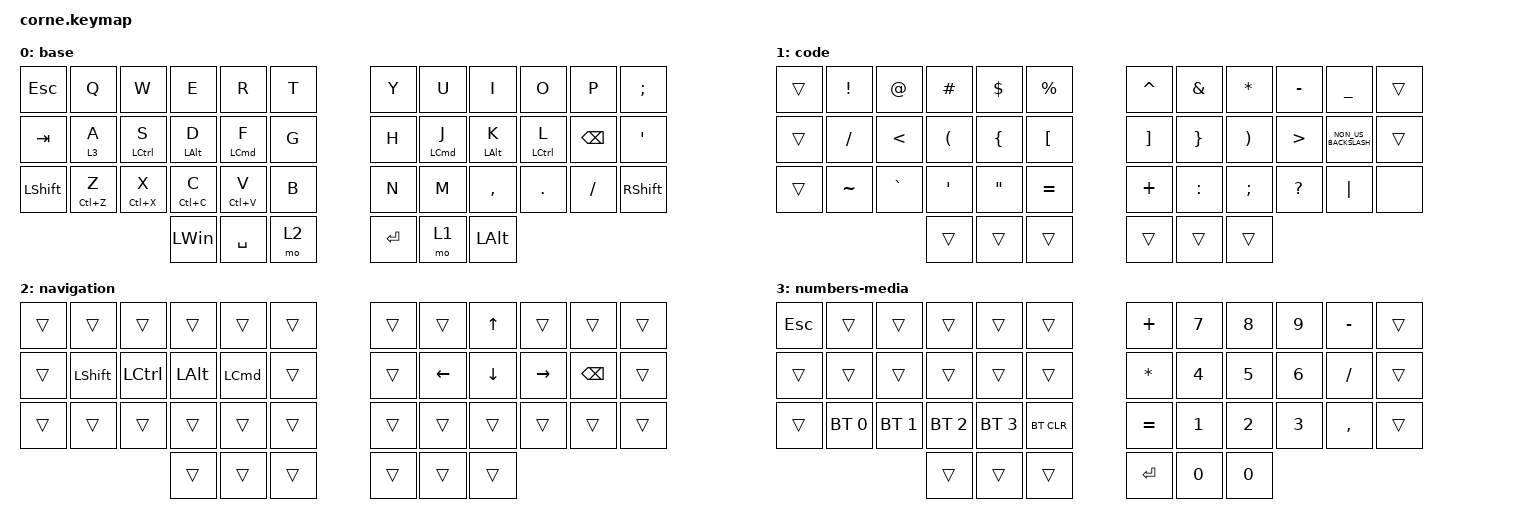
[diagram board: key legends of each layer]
/*
 * Copyright (c) 2020 The ZMK Contributors
 *
 * SPDX-License-Identifier: MIT
 */

#include <behaviors.dtsi>
#include <dt-bindings/zmk/bt.h>
#include <dt-bindings/zmk/keys.h>

/ {
    behaviors {
        homerow_mods_left: homerow_mods_left {
            compatible = "zmk,behavior-hold-tap";
            label = "HOMEROW_MODS_LEFT";
            bindings = <&kp>, <&kp>;

            #binding-cells = <2>;
            tapping-term-ms = <200>;
            quick-tap-ms = <250>;
            flavor = "tap-preferred";
            hold-trigger-key-positions = <6 7 8 9 10 11 18 19 20 21 22 23 30 31 32 33 34 35>;
        };

        homerow_mods_right: homerow_mods_right {
            compatible = "zmk,behavior-hold-tap";
            label = "HOMEROW_MODS_RIGHT";
            bindings = <&kp>, <&kp>;

            #binding-cells = <2>;
            tapping-term-ms = <200>;
            quick-tap-ms = <250>;
            flavor = "tap-preferred";
            hold-trigger-key-positions = <0 1 2 3 4 5 12 13 14 15 16 17 24 25 26 27 28 29>;
        };

        homerow_mods: homerow_mods {
            compatible = "zmk,behavior-hold-tap";
            label = "HOMEROW_MODS";
            bindings = <&kp>, <&kp>;

            #binding-cells = <2>;
            tapping-term-ms = <200>;
            quick-tap-ms = <250>;
            flavor = "tap-preferred";
        };

        Numbers_layer: Numbers_layer {
            compatible = "zmk,behavior-hold-tap";
            label = "NUMBERS_LAYER";
            bindings = <&mo>, <&kp>;

            #binding-cells = <2>;
            tapping-term-ms = <200>;
            quick-tap-ms = <250>;
            flavor = "tap-preferred";
        };
    };

    combos { compatible = "zmk,combos"; };

    keymap {
        compatible = "zmk,keymap";

        base {
            // -----------------------------------------------------------------------------------------
            // |  TAB |  Q  |  W  |  E  |  R  |  T  |   |  Y  |  U   |  I  |  O  |  P  | BKSP |
            // | CTRL |  A  |  S  |  D  |  F  |  G  |   |  H  |  J   |  K  |  L  |  ;  |  '   |
            // | SHFT |  Z  |  X  |  C  |  V  |  B  |   |  N  |  M   |  ,  |  .  |  /  | ESC  |
            //                    | GUI | LWR | SPC |   | ENT | RSE  | ALT |

            bindings = <
&kp ESC         &kp Q                       &kp W                       &kp E                          &kp R                      &kp T    &kp Y       &kp U                       &kp I                           &kp O                        &kp P          &kp SEMICOLON
&kp TAB         &Numbers_layer 3 A          &homerow_mods_left LCTRL S  &homerow_mods_left LEFT_ALT D  &homerow_mods_left LCMD F  &kp G    &kp H       &homerow_mods_right LCMD J  &homerow_mods_right LEFT_ALT K  &homerow_mods_right LCTRL L  &kp BACKSPACE  &kp APOS
&kp LEFT_SHIFT  &homerow_mods_left LC(Z) Z  &homerow_mods LC(X) X       &homerow_mods LC(C) C          &homerow_mods LC(V) V      &kp B    &kp N       &kp M                       &kp COMMA                       &kp DOT                      &kp SLASH      &kp RIGHT_SHIFT
                                                                        &kp LEFT_WIN                   &kp SPACE                  &mo 2    &kp RETURN  &mo 1                       &kp LEFT_ALT
            >;
        };

        code {
            // -----------------------------------------------------------------------------------------
            // |  TAB |  1  |  2  |  3  |  4  |  5  |   |  6  |  7  |  8  |  9  |  0  | BKSP |
            // | BTCLR| BT1 | BT2 | BT3 | BT4 | BT5 |   | LFT | DWN |  UP | RGT |     |      |
            // | SHFT |     |     |     |     |     |   |     |     |     |     |     |      |
            //                    | GUI |     | SPC |   | ENT |     | ALT |

            bindings = <
&trans  &kp EXCLAMATION  &kp AT_SIGN    &kp HASH              &kp DOLLAR         &kp PERCENT         &kp CARET          &kp AMPERSAND    &kp ASTERISK           &kp MINUS         &kp UNDERSCORE        &trans
&trans  &kp SLASH        &kp LESS_THAN  &kp LEFT_PARENTHESIS  &kp LEFT_BRACE     &kp LEFT_BRACKET    &kp RIGHT_BRACKET  &kp RIGHT_BRACE  &kp RIGHT_PARENTHESIS  &kp GREATER_THAN  &kp NON_US_BACKSLASH  &trans
&trans  &kp TILDE        &kp GRAVE      &kp SINGLE_QUOTE      &kp DOUBLE_QUOTES  &kp EQUAL           &kp PLUS           &kp COLON        &kp SEMICOLON          &kp QUESTION      &kp PIPE              &none
                                        &trans                &trans             &trans              &trans             &trans           &trans
            >;
        };

        navigation {
            // -----------------------------------------------------------------------------------------
            // |  TAB |  !  |  @  |  #  |  $  |  %  |   |  ^  |  &  |  *  |  (  |  )  | BKSP |
            // | CTRL |     |     |     |     |     |   |  -  |  =  |  [  |  ]  |  \  |  `   |
            // | SHFT |     |     |     |     |     |   |  _  |  +  |  {  |  }  | "|" |  ~   |
            //                    | GUI |     | SPC |   | ENT |     | ALT |

            bindings = <
&trans  &trans          &trans     &trans        &trans    &trans    &trans  &trans    &kp UP_ARROW  &trans     &trans         &trans
&trans  &kp LEFT_SHIFT  &kp LCTRL  &kp LEFT_ALT  &kp LCMD  &trans    &trans  &kp LEFT  &kp DOWN      &kp RIGHT  &kp BACKSPACE  &trans
&trans  &trans          &trans     &trans        &trans    &trans    &trans  &trans    &trans        &trans     &trans         &trans
                                   &trans        &trans    &trans    &trans  &trans    &trans
            >;
        };

        numbers-media {
            bindings = <
&kp ESC  &trans        &trans        &trans        &trans        &trans        &kp PLUS      &kp NUMBER_7  &kp NUMBER_8  &kp NUMBER_9  &kp MINUS  &trans
&trans   &trans        &trans        &trans        &trans        &trans        &kp ASTERISK  &kp NUMBER_4  &kp NUMBER_5  &kp NUMBER_6  &kp SLASH  &trans
&trans   &bt BT_SEL 0  &bt BT_SEL 1  &bt BT_SEL 2  &bt BT_SEL 3  &bt BT_CLR    &kp EQUAL     &kp NUMBER_1  &kp NUMBER_2  &kp NUMBER_3  &kp COMMA  &trans
                                     &trans        &trans        &trans        &kp RET       &kp NUMBER_0  &kp NUMBER_0
            >;
        };
    };
};
